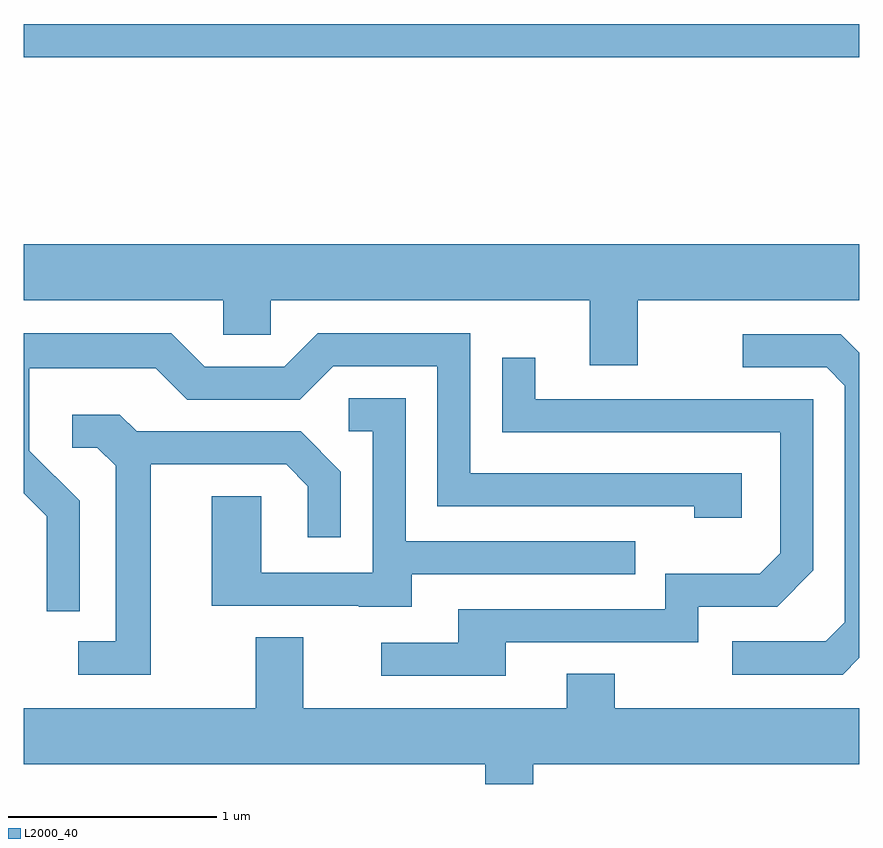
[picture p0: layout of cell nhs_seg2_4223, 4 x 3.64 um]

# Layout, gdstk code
import gdstk
lib = gdstk.Library(unit=1e-6, precision=1e-09)
def R(c, l, rs):  # rectangles x0, y0, x1, y1
    for r in rs: c.add(gdstk.rectangle(r[:2], r[2:], *l))
def P(c, l, *ps):  # polygons
    for p in ps: c.add(gdstk.Polygon(p, *l))
L2000_40 = (2000, 40)

nhs_seg2_4223 = lib.new_cell('nhs_seg2_4223')
R(nhs_seg2_4223, L2000_40, [(309.611,1027.281,313.611,1027.439)])
P(nhs_seg2_4223, L2000_40, [(312.549,1026.116),(313.611,1026.116),(313.611,1026.384),(309.611,1026.384),(309.611,1026.116),(310.566,1026.116),(310.566,1025.951),(310.794,1025.951),(310.794,1026.116),(312.321,1026.116),(312.321,1025.806),(312.549,1025.806)],
  [(309.879,1025.157),(309.639,1025.397),(309.639,1025.791),(310.244,1025.791),(310.394,1025.641),(310.932,1025.641),(311.092,1025.801),(311.591,1025.801),(311.591,1025.131),(312.821,1025.131),(312.821,1025.076),(313.049,1025.076),(313.049,1025.289),(311.749,1025.289),(311.749,1025.959),(311.019,1025.959),(310.859,1025.799),(310.477,1025.799),(310.317,1025.959),(309.611,1025.959),(309.611,1025.194),(309.721,1025.084),(309.721,1024.628),(309.879,1024.628)],
  [(313.611,1024.405),(313.611,1025.865),(313.522,1025.954),(313.053,1025.954),(313.053,1025.796),(313.454,1025.796),(313.541,1025.709),(313.541,1024.577),(313.449,1024.484),(313.003,1024.484),(313.003,1024.326),(313.532,1024.326)],
  [(311.919,1024.481),(312.839,1024.481),(312.839,1024.651),(313.217,1024.651),(313.389,1024.824),(313.389,1025.644),(312.059,1025.644),(312.059,1025.843),(311.901,1025.843),(311.901,1025.486),(313.231,1025.486),(313.231,1024.907),(313.134,1024.809),(312.681,1024.809),(312.681,1024.639),(311.691,1024.639),(311.691,1024.479),(311.323,1024.479),(311.323,1024.321),(311.919,1024.321)],
  [(311.469,1024.806),(312.538,1024.806),(312.538,1024.964),(311.439,1024.964),(311.439,1025.649),(311.168,1025.649),(311.168,1025.491),(311.281,1025.491),(311.281,1024.814),(310.749,1024.814),(310.749,1025.179),(310.511,1025.179),(310.511,1024.656),(311.215,1024.656),(311.215,1024.651),(311.469,1024.651)],
  [(310.219,1025.331),(310.869,1025.331),(310.971,1025.228),(310.971,1024.983),(311.129,1024.983),(311.129,1025.296),(310.937,1025.489),(310.152,1025.489),(310.072,1025.569),(309.843,1025.569),(309.843,1025.411),(309.964,1025.411),(310.051,1025.324),(310.051,1024.484),(309.873,1024.484),(309.873,1024.326),(310.219,1024.326)],
  [(312.049,1023.896),(313.611,1023.896),(313.611,1024.164),(312.439,1024.164),(312.439,1024.329),(312.211,1024.329),(312.211,1024.164),(310.949,1024.164),(310.949,1024.504),(310.721,1024.504),(310.721,1024.164),(309.611,1024.164),(309.611,1023.896),(311.821,1023.896),(311.821,1023.802),(312.049,1023.802)])

lib.write_gds('nhs_seg2_4223.gds')
